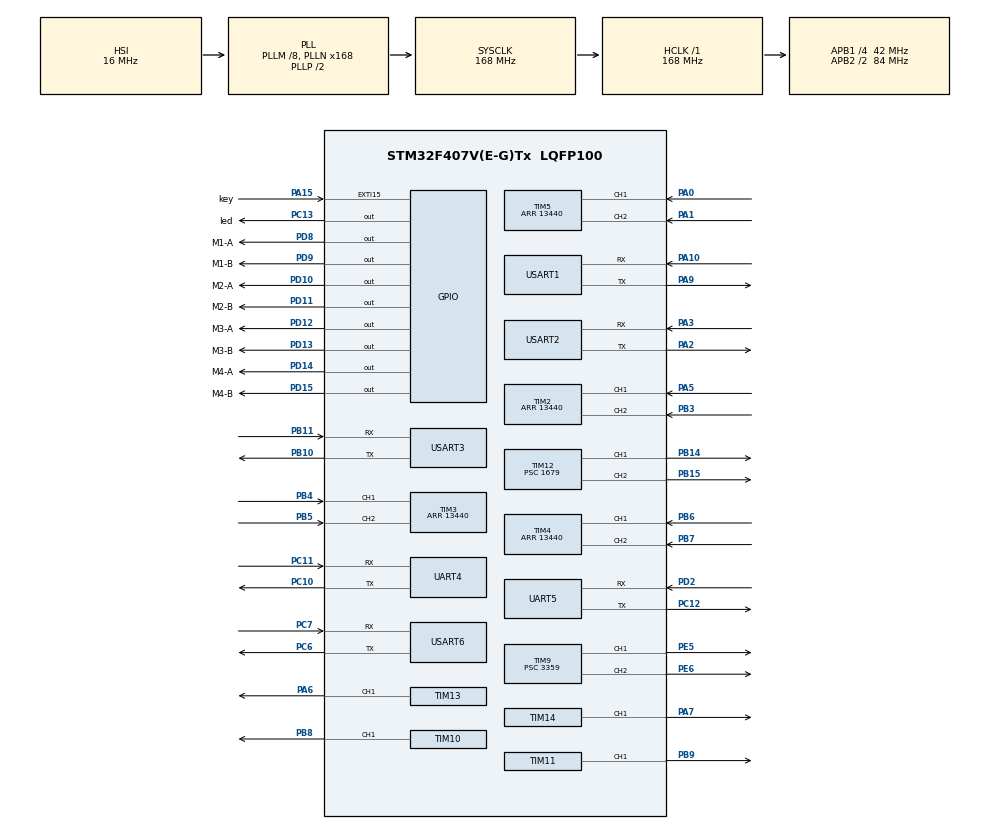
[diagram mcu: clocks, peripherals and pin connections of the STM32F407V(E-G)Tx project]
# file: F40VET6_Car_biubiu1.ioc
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Dma.Request0=USART2_RX
Dma.Request1=USART3_RX
Dma.USART2_RX.0.Direction=DMA_PERIPH_TO_MEMORY
Dma.USART2_RX.0.FIFOMode=DMA_FIFOMODE_DISABLE
Dma.USART2_RX.0.Instance=DMA1_Stream5
Dma.USART2_RX.0.MemDataAlignment=DMA_MDATAALIGN_BYTE
Dma.USART2_RX.0.MemInc=DMA_MINC_ENABLE
Dma.USART2_RX.0.Mode=DMA_NORMAL
Dma.USART2_RX.0.PeriphDataAlignment=DMA_PDATAALIGN_BYTE
Dma.USART2_RX.0.PeriphInc=DMA_PINC_DISABLE
Dma.USART2_RX.0.Priority=DMA_PRIORITY_HIGH
Dma.USART3_RX.1.Direction=DMA_PERIPH_TO_MEMORY
Dma.USART3_RX.1.FIFOMode=DMA_FIFOMODE_DISABLE
Dma.USART3_RX.1.Instance=DMA1_Stream1
Dma.USART3_RX.1.MemDataAlignment=DMA_MDATAALIGN_BYTE
Dma.USART3_RX.1.MemInc=DMA_MINC_ENABLE
Dma.USART3_RX.1.Mode=DMA_NORMAL
Dma.USART3_RX.1.PeriphDataAlignment=DMA_PDATAALIGN_BYTE
Dma.USART3_RX.1.PeriphInc=DMA_PINC_DISABLE
Dma.USART3_RX.1.Priority=DMA_PRIORITY_HIGH
Mcu.Family=STM32F4
Mcu.Name=STM32F407V(E-G)Tx
Mcu.Package=LQFP100
NVIC.DMA1_Stream1_IRQn=true\:0\:0\:false\:false\:true\:false\:true
NVIC.DMA1_Stream5_IRQn=true\:0\:0\:false\:false\:true\:false\:true
NVIC.EXTI15_10_IRQn=true\:0\:1\:true\:false\:true\:true\:true
NVIC.PriorityGroup=NVIC_PRIORITYGROUP_2
NVIC.TIM2_IRQn=true\:1\:1\:true\:false\:true\:true\:true
NVIC.TIM3_IRQn=true\:1\:2\:true\:false\:true\:true\:true
NVIC.TIM4_IRQn=true\:1\:3\:true\:false\:true\:true\:true
NVIC.TIM5_IRQn=true\:1\:0\:true\:false\:true\:true\:true
NVIC.TIM6_DAC_IRQn=true\:2\:3\:true\:false\:true\:true\:true
NVIC.UART4_IRQn=true\:0\:0\:false\:false\:true\:true\:true
NVIC.UART5_IRQn=true\:0\:0\:false\:false\:true\:true\:true
NVIC.USART1_IRQn=true\:0\:0\:true\:false\:true\:true\:true
NVIC.USART2_IRQn=true\:0\:0\:false\:false\:true\:true\:true
NVIC.USART3_IRQn=true\:0\:0\:false\:false\:true\:true\:true
NVIC.USART6_IRQn=true\:0\:0\:false\:false\:true\:true\:true
PA0-WKUP.Signal=S_TIM5_CH1
PA1.Signal=S_TIM5_CH2
PA10.Mode=Asynchronous
PA10.Signal=USART1_RX
PA13.Mode=Serial_Wire
PA13.Signal=SYS_JTMS-SWDIO
PA14.Mode=Serial_Wire
PA14.Signal=SYS_JTCK-SWCLK
PA15.GPIO_Label=key
PA15.GPIO_ModeDefaultEXTI=GPIO_MODE_IT_FALLING
PA15.GPIO_PuPd=GPIO_PULLUP
PA15.Signal=GPXTI15
PA2.Mode=Asynchronous
PA2.Signal=USART2_TX
PA3.Mode=Asynchronous
PA3.Signal=USART2_RX
PA5.Signal=S_TIM2_CH1_ETR
PA6.Signal=S_TIM13_CH1
PA7.Signal=S_TIM14_CH1
PA9.Mode=Asynchronous
PA9.Signal=USART1_TX
PB10.Mode=Asynchronous
PB10.Signal=USART3_TX
PB11.Mode=Asynchronous
PB11.Signal=USART3_RX
PB14.Signal=S_TIM12_CH1
PB15.Signal=S_TIM12_CH2
PB3.Signal=S_TIM2_CH2
PB4.Signal=S_TIM3_CH1
PB5.Signal=S_TIM3_CH2
PB6.Signal=S_TIM4_CH1
PB7.Signal=S_TIM4_CH2
PB8.Signal=S_TIM10_CH1
PB9.Signal=S_TIM11_CH1
PC10.Mode=Asynchronous
PC10.Signal=UART4_TX
PC11.Mode=Asynchronous
PC11.Signal=UART4_RX
PC12.Mode=Asynchronous
PC12.Signal=UART5_TX
PC13-ANTI_TAMP.GPIO_Label=led
PC13-ANTI_TAMP.GPIO_PuPd=GPIO_NOPULL
PC13-ANTI_TAMP.GPIO_Speed=GPIO_SPEED_FREQ_LOW
PC13-ANTI_TAMP.PinState=GPIO_PIN_RESET
PC13-ANTI_TAMP.Signal=GPIO_Output
PC6.Mode=Asynchronous
PC6.Signal=USART6_TX
PC7.Mode=Asynchronous
PC7.Signal=USART6_RX
PD10.GPIO_Label=M2-A 
PD10.Signal=GPIO_Output
PD11.GPIO_Label=M2-B 
PD11.GPIO_Speed=GPIO_SPEED_FREQ_HIGH
PD11.Signal=GPIO_Output
PD12.GPIO_Label=M3-A 
PD12.Signal=GPIO_Output
PD13.GPIO_Label=M3-B 
PD13.Signal=GPIO_Output
PD14.GPIO_Label=M4-A 
PD14.Signal=GPIO_Output
PD15.GPIO_Label=M4-B 
PD15.Signal=GPIO_Output
PD2.Mode=Asynchronous
PD2.Signal=UART5_RX
PD8.GPIO_Label=M1-A 
PD8.GPIO_Speed=GPIO_SPEED_FREQ_MEDIUM
PD8.PinState=GPIO_PIN_RESET
PD8.Signal=GPIO_Output
PD9.GPIO_Label=M1-B 
PD9.GPIO_Speed=GPIO_SPEED_FREQ_HIGH
PD9.Signal=GPIO_Output
PE5.Signal=S_TIM9_CH1
PE6.Signal=S_TIM9_CH2
PH0-OSC_IN.Mode=HSE-External-Oscillator
PH0-OSC_IN.Signal=RCC_OSC_IN
PH1-OSC_OUT.Mode=HSE-External-Oscillator
PH1-OSC_OUT.Signal=RCC_OSC_OUT
ProjectManager.HeapSize=0x200
ProjectManager.StackSize=0x400
ProjectManager.TargetToolchain=MDK-ARM V5.27
RCC.48MHZClocksFreq_Value=84000000
RCC.AHBFreq_Value=168000000
RCC.APB1CLKDivider=RCC_HCLK_DIV4
RCC.APB1Freq_Value=42000000
RCC.APB1TimFreq_Value=84000000
RCC.APB2CLKDivider=RCC_HCLK_DIV2
RCC.APB2Freq_Value=84000000
RCC.APB2TimFreq_Value=168000000
RCC.CortexFreq_Value=168000000
RCC.HCLKFreq_Value=168000000
RCC.HSE_VALUE=8000000
RCC.HSI_VALUE=16000000
RCC.LSE_VALUE=32768
RCC.PLLM=8
RCC.PLLN=168
RCC.SYSCLKFreq_VALUE=168000000
RCC.SYSCLKSource=RCC_SYSCLKSOURCE_PLLCLK
RCC.VCOOutputFreq_Value=336000000
SH.S_TIM10_CH1.0=TIM10_CH1,PWM Generation1 CH1
SH.S_TIM11_CH1.0=TIM11_CH1,PWM Generation1 CH1
SH.S_TIM12_CH1.0=TIM12_CH1,PWM Generation1 CH1
SH.S_TIM12_CH2.0=TIM12_CH2,PWM Generation2 CH2
SH.S_TIM13_CH1.0=TIM13_CH1,PWM Generation1 CH1
SH.S_TIM14_CH1.0=TIM14_CH1,PWM Generation1 CH1
SH.S_TIM2_CH1_ETR.0=TIM2_CH1,Encoder_Interface
SH.S_TIM2_CH2.0=TIM2_CH2,Encoder_Interface
SH.S_TIM3_CH1.0=TIM3_CH1,Encoder_Interface
SH.S_TIM3_CH2.0=TIM3_CH2,Encoder_Interface
SH.S_TIM4_CH1.0=TIM4_CH1,Encoder_Interface
SH.S_TIM4_CH2.0=TIM4_CH2,Encoder_Interface
SH.S_TIM5_CH1.0=TIM5_CH1,Encoder_Interface
SH.S_TIM5_CH2.0=TIM5_CH2,Encoder_Interface
SH.S_TIM9_CH1.0=TIM9_CH1,PWM Generation1 CH1
SH.S_TIM9_CH2.0=TIM9_CH2,PWM Generation2 CH2
TIM10.AutoReloadPreload=TIM_AUTORELOAD_PRELOAD_DISABLE
TIM10.Channel=TIM_CHANNEL_1
TIM10.Period=999
TIM10.Prescaler=16
TIM10.Pulse=500
TIM11.Channel=TIM_CHANNEL_1
TIM11.Period=999
TIM11.Prescaler=16
TIM12.Channel-PWM\ Generation1\ CH1=TIM_CHANNEL_1
TIM12.Channel-PWM\ Generation2\ CH2=TIM_CHANNEL_2
TIM12.Period=999
TIM12.Prescaler=1679
TIM13.Channel=TIM_CHANNEL_1
TIM13.Period=999
TIM13.Prescaler=8
TIM14.Channel=TIM_CHANNEL_1
TIM14.Period=999
TIM14.Prescaler=8
TIM2.EncoderMode=TIM_ENCODERMODE_TI12
TIM2.Period=13440
TIM3.EncoderMode=TIM_ENCODERMODE_TI12
TIM3.Period=13440
TIM4.EncoderMode=TIM_ENCODERMODE_TI12
TIM4.Period=13440
TIM5.EncoderMode=TIM_ENCODERMODE_TI12
TIM5.Period=13440
TIM6.Period=9999
TIM6.Prescaler=83
TIM9.AutoReloadPreload=TIM_AUTORELOAD_PRELOAD_DISABLE
TIM9.Channel-PWM\ Generation1\ CH1=TIM_CHANNEL_1
TIM9.Channel-PWM\ Generation2\ CH2=TIM_CHANNEL_2
TIM9.Period=999
TIM9.Prescaler=3359
UART4.VirtualMode=Asynchronous
UART5.VirtualMode=Asynchronous
USART1.VirtualMode=VM_ASYNC
USART2.VirtualMode=VM_ASYNC
USART3.VirtualMode=VM_ASYNC
USART6.VirtualMode=VM_ASYNC
VP_TIM10_VS_ClockSourceINT.Mode=Enable_Timer
VP_TIM11_VS_ClockSourceINT.Mode=Enable_Timer
VP_TIM13_VS_ClockSourceINT.Mode=Enable_Timer
VP_TIM14_VS_ClockSourceINT.Mode=Enable_Timer
VP_TIM6_VS_ClockSourceINT.Mode=Enable_Timer
board=custom

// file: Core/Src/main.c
/* USER CODE BEGIN Header */
/**
 ******************************************************************************
 * @file           : main.c
 * @brief          : Main program body
 ******************************************************************************
 * @attention
 *
 * <h2><center>&copy; Copyright (c) 2023 STMicroelectronics.
 * All rights reserved.</center></h2>
 *
 * This software component is licensed by ST under BSD 3-Clause license,
 * the "License"; You may not use this file except in compliance with the
 * License. You may obtain a copy of the License at:
 *                        opensource.org/licenses/BSD-3-Clause
 *
 ******************************************************************************
 */
/* USER CODE END Header */
#include "main.h"

TIM_HandleTypeDef htim2;
TIM_HandleTypeDef htim3;
TIM_HandleTypeDef htim4;
TIM_HandleTypeDef htim5;
TIM_HandleTypeDef htim6;
TIM_HandleTypeDef htim9;
TIM_HandleTypeDef htim10;
TIM_HandleTypeDef htim11;
TIM_HandleTypeDef htim12;
TIM_HandleTypeDef htim13;
TIM_HandleTypeDef htim14;

UART_HandleTypeDef huart4;
UART_HandleTypeDef huart5;
UART_HandleTypeDef huart1;
UART_HandleTypeDef huart2;
UART_HandleTypeDef huart3;
UART_HandleTypeDef huart6;
DMA_HandleTypeDef hdma_usart2_rx;
DMA_HandleTypeDef hdma_usart3_rx;

void SystemClock_Config(void);
static void MX_GPIO_Init(void);
static void MX_DMA_Init(void);
static void MX_TIM2_Init(void);
static void MX_TIM3_Init(void);
static void MX_TIM4_Init(void);
static void MX_TIM5_Init(void);
static void MX_TIM6_Init(void);
static void MX_TIM9_Init(void);
static void MX_TIM10_Init(void);
static void MX_TIM11_Init(void);
static void MX_TIM12_Init(void);
static void MX_TIM13_Init(void);
static void MX_TIM14_Init(void);
static void MX_USART1_UART_Init(void);
static void MX_USART2_UART_Init(void);
static void MX_USART3_UART_Init(void);
static void MX_UART4_Init(void);
static void MX_UART5_Init(void);
static void MX_USART6_UART_Init(void);

/* USER CODE BEGIN 0 */
int fputc(int ch, FILE *f)
{
  uint8_t temp[1] = {ch};
  HAL_UART_Transmit(&huart1 , temp, 1, 0xffff);
  return ch;
}

int fgetc(FILE *f)
{
  uint8_t ch = 0;
  HAL_UART_Receive(&huart1, &ch, 1, 0xffff);
  return ch;
}
/* USER CODE END 0 */

int main(void)
{

  /* MCU Configuration--------------------------------------------------------*/

  /* Reset of all peripherals, Initializes the Flash interface and the Systick. */
  HAL_Init();

  /* Configure the system clock */
  SystemClock_Config();

  /* Initialize all configured peripherals */
  MX_GPIO_Init();
  MX_DMA_Init();
  MX_TIM2_Init();
  MX_TIM3_Init();
  MX_TIM4_Init();
  MX_TIM5_Init();
  MX_TIM6_Init();
  MX_TIM9_Init();
  MX_TIM10_Init();
  MX_TIM11_Init();
  MX_TIM12_Init();
  MX_TIM13_Init();
  MX_TIM14_Init();
  MX_USART1_UART_Init();
  MX_USART2_UART_Init();
  MX_USART3_UART_Init();
  MX_UART4_Init();
  MX_UART5_Init();
  MX_USART6_UART_Init();
  /* USER CODE BEGIN 2 */
  HAL_TIM_Encoder_Start(&htim2, TIM_CHANNEL_ALL); // 编码器模式启�?
  __HAL_TIM_ENABLE_IT(&htim2, TIM_IT_UPDATE);
  HAL_TIM_Base_Start_IT(&htim6);            // 基础定时器启�?
  HAL_TIM_PWM_Start(&htim12, TIM_CHANNEL_1); // PWM输出启动
  HAL_TIM_PWM_Start(&htim9, TIM_CHANNEL_2);
  __HAL_TIM_SET_COUNTER(&htim2, 6720);
  TIM12->CCR1=250;
  /* USER CODE END 2 */

  /* Infinite loop */
  while (1)
  {

    /* USER CODE BEGIN 3 */
     GPIOC->ODR^=GPIO_PIN_13;
     GPIOD->ODR^=GPIO_PIN_8;
     delay(1000);
  }
  /* USER CODE END 3 */
}

void SystemClock_Config(void)
{
  RCC_OscInitTypeDef RCC_OscInitStruct = {0};
  RCC_ClkInitTypeDef RCC_ClkInitStruct = {0};

  /** Configure the main internal regulator output voltage
  */
  __HAL_RCC_PWR_CLK_ENABLE();
  __HAL_PWR_VOLTAGESCALING_CONFIG(PWR_REGULATOR_VOLTAGE_SCALE1);
  /** Initializes the RCC Oscillators according to the specified parameters
  * in the RCC_OscInitTypeDef structure.
  */
  RCC_OscInitStruct.OscillatorType = RCC_OSCILLATORTYPE_HSI;
  RCC_OscInitStruct.HSIState = RCC_HSI_ON;
  RCC_OscInitStruct.HSICalibrationValue = RCC_HSICALIBRATION_DEFAULT;
  RCC_OscInitStruct.PLL.PLLState = RCC_PLL_ON;
  RCC_OscInitStruct.PLL.PLLSource = RCC_PLLSOURCE_HSI;
  RCC_OscInitStruct.PLL.PLLM = 8;
  RCC_OscInitStruct.PLL.PLLN = 168;
  RCC_OscInitStruct.PLL.PLLP = RCC_PLLP_DIV2;
  RCC_OscInitStruct.PLL.PLLQ = 4;
  if (HAL_RCC_OscConfig(&RCC_OscInitStruct) != HAL_OK)
  {
    Error_Handler();
  }
  /** Initializes the CPU, AHB and APB buses clocks
  */
  RCC_ClkInitStruct.ClockType = RCC_CLOCKTYPE_HCLK|RCC_CLOCKTYPE_SYSCLK
                              |RCC_CLOCKTYPE_PCLK1|RCC_CLOCKTYPE_PCLK2;
  RCC_ClkInitStruct.SYSCLKSource = RCC_SYSCLKSOURCE_PLLCLK;
  RCC_ClkInitStruct.AHBCLKDivider = RCC_SYSCLK_DIV1;
  RCC_ClkInitStruct.APB1CLKDivider = RCC_HCLK_DIV4;
  RCC_ClkInitStruct.APB2CLKDivider = RCC_HCLK_DIV2;

  if (HAL_RCC_ClockConfig(&RCC_ClkInitStruct, FLASH_LATENCY_5) != HAL_OK)
  {
    Error_Handler();
  }
}

static void MX_TIM2_Init(void)
{

  TIM_Encoder_InitTypeDef sConfig = {0};
  TIM_MasterConfigTypeDef sMasterConfig = {0};

  htim2.Instance = TIM2;
  htim2.Init.Prescaler = 0;
  htim2.Init.CounterMode = TIM_COUNTERMODE_UP;
  htim2.Init.Period = 13440;
  htim2.Init.ClockDivision = TIM_CLOCKDIVISION_DIV1;
  htim2.Init.AutoReloadPreload = TIM_AUTORELOAD_PRELOAD_DISABLE;
  sConfig.EncoderMode = TIM_ENCODERMODE_TI12;
  sConfig.IC1Polarity = TIM_ICPOLARITY_RISING;
  sConfig.IC1Selection = TIM_ICSELECTION_DIRECTTI;
  sConfig.IC1Prescaler = TIM_ICPSC_DIV1;
  sConfig.IC1Filter = 0;
  sConfig.IC2Polarity = TIM_ICPOLARITY_RISING;
  sConfig.IC2Selection = TIM_ICSELECTION_DIRECTTI;
  sConfig.IC2Prescaler = TIM_ICPSC_DIV1;
  sConfig.IC2Filter = 0;
  if (HAL_TIM_Encoder_Init(&htim2, &sConfig) != HAL_OK)
  {
    Error_Handler();
  }
  sMasterConfig.MasterOutputTrigger = TIM_TRGO_RESET;
  sMasterConfig.MasterSlaveMode = TIM_MASTERSLAVEMODE_DISABLE;
  if (HAL_TIMEx_MasterConfigSynchronization(&htim2, &sMasterConfig) != HAL_OK)
  {
    Error_Handler();
  }

}

static void MX_TIM3_Init(void)
{

  TIM_Encoder_InitTypeDef sConfig = {0};
  TIM_MasterConfigTypeDef sMasterConfig = {0};

  htim3.Instance = TIM3;
  htim3.Init.Prescaler = 0;
  htim3.Init.CounterMode = TIM_COUNTERMODE_UP;
  htim3.Init.Period = 13440;
  htim3.Init.ClockDivision = TIM_CLOCKDIVISION_DIV1;
  htim3.Init.AutoReloadPreload = TIM_AUTORELOAD_PRELOAD_DISABLE;
  sConfig.EncoderMode = TIM_ENCODERMODE_TI12;
  sConfig.IC1Polarity = TIM_ICPOLARITY_RISING;
  sConfig.IC1Selection = TIM_ICSELECTION_DIRECTTI;
  sConfig.IC1Prescaler = TIM_ICPSC_DIV1;
  sConfig.IC1Filter = 0;
  sConfig.IC2Polarity = TIM_ICPOLARITY_RISING;
  sConfig.IC2Selection = TIM_ICSELECTION_DIRECTTI;
  sConfig.IC2Prescaler = TIM_ICPSC_DIV1;
  sConfig.IC2Filter = 0;
  if (HAL_TIM_Encoder_Init(&htim3, &sConfig) != HAL_OK)
  {
    Error_Handler();
  }
  sMasterConfig.MasterOutputTrigger = TIM_TRGO_RESET;
  sMasterConfig.MasterSlaveMode = TIM_MASTERSLAVEMODE_DISABLE;
  if (HAL_TIMEx_MasterConfigSynchronization(&htim3, &sMasterConfig) != HAL_OK)
  {
    Error_Handler();
  }

}

static void MX_TIM4_Init(void)
{

  TIM_Encoder_InitTypeDef sConfig = {0};
  TIM_MasterConfigTypeDef sMasterConfig = {0};

  htim4.Instance = TIM4;
  htim4.Init.Prescaler = 0;
  htim4.Init.CounterMode = TIM_COUNTERMODE_UP;
  htim4.Init.Period = 13440;
  htim4.Init.ClockDivision = TIM_CLOCKDIVISION_DIV1;
  htim4.Init.AutoReloadPreload = TIM_AUTORELOAD_PRELOAD_DISABLE;
  sConfig.EncoderMode = TIM_ENCODERMODE_TI12;
  sConfig.IC1Polarity = TIM_ICPOLARITY_RISING;
  sConfig.IC1Selection = TIM_ICSELECTION_DIRECTTI;
  sConfig.IC1Prescaler = TIM_ICPSC_DIV1;
  sConfig.IC1Filter = 0;
  sConfig.IC2Polarity = TIM_ICPOLARITY_RISING;
  sConfig.IC2Selection = TIM_ICSELECTION_DIRECTTI;
  sConfig.IC2Prescaler = TIM_ICPSC_DIV1;
  sConfig.IC2Filter = 0;
  if (HAL_TIM_Encoder_Init(&htim4, &sConfig) != HAL_OK)
  {
    Error_Handler();
  }
  sMasterConfig.MasterOutputTrigger = TIM_TRGO_RESET;
  sMasterConfig.MasterSlaveMode = TIM_MASTERSLAVEMODE_DISABLE;
  if (HAL_TIMEx_MasterConfigSynchronization(&htim4, &sMasterConfig) != HAL_OK)
  {
    Error_Handler();
  }

}

static void MX_TIM5_Init(void)
{

  TIM_Encoder_InitTypeDef sConfig = {0};
  TIM_MasterConfigTypeDef sMasterConfig = {0};

  htim5.Instance = TIM5;
  htim5.Init.Prescaler = 0;
  htim5.Init.CounterMode = TIM_COUNTERMODE_UP;
  htim5.Init.Period = 13440;
  htim5.Init.ClockDivision = TIM_CLOCKDIVISION_DIV1;
  htim5.Init.AutoReloadPreload = TIM_AUTORELOAD_PRELOAD_DISABLE;
  sConfig.EncoderMode = TIM_ENCODERMODE_TI12;
  sConfig.IC1Polarity = TIM_ICPOLARITY_RISING;
  sConfig.IC1Selection = TIM_ICSELECTION_DIRECTTI;
  sConfig.IC1Prescaler = TIM_ICPSC_DIV1;
  sConfig.IC1Filter = 0;
  sConfig.IC2Polarity = TIM_ICPOLARITY_RISING;
  sConfig.IC2Selection = TIM_ICSELECTION_DIRECTTI;
  sConfig.IC2Prescaler = TIM_ICPSC_DIV1;
  sConfig.IC2Filter = 0;
  if (HAL_TIM_Encoder_Init(&htim5, &sConfig) != HAL_OK)
  {
    Error_Handler();
  }
  sMasterConfig.MasterOutputTrigger = TIM_TRGO_RESET;
  sMasterConfig.MasterSlaveMode = TIM_MASTERSLAVEMODE_DISABLE;
  if (HAL_TIMEx_MasterConfigSynchronization(&htim5, &sMasterConfig) != HAL_OK)
  {
    Error_Handler();
  }

}

static void MX_TIM6_Init(void)
{

  TIM_MasterConfigTypeDef sMasterConfig = {0};

  htim6.Instance = TIM6;
  htim6.Init.Prescaler = 83;
  htim6.Init.CounterMode = TIM_COUNTERMODE_UP;
  htim6.Init.Period = 9999;
  htim6.Init.AutoReloadPreload = TIM_AUTORELOAD_PRELOAD_DISABLE;
  if (HAL_TIM_Base_Init(&htim6) != HAL_OK)
  {
    Error_Handler();
  }
  sMasterConfig.MasterOutputTrigger = TIM_TRGO_RESET;
  sMasterConfig.MasterSlaveMode = TIM_MASTERSLAVEMODE_DISABLE;
  if (HAL_TIMEx_MasterConfigSynchronization(&htim6, &sMasterConfig) != HAL_OK)
  {
    Error_Handler();
  }

}

static void MX_TIM9_Init(void)
{

  TIM_OC_InitTypeDef sConfigOC = {0};

  htim9.Instance = TIM9;
  htim9.Init.Prescaler = 3359;
  htim9.Init.CounterMode = TIM_COUNTERMODE_UP;
  htim9.Init.Period = 999;
  htim9.Init.ClockDivision = TIM_CLOCKDIVISION_DIV1;
  htim9.Init.AutoReloadPreload = TIM_AUTORELOAD_PRELOAD_DISABLE;
  if (HAL_TIM_PWM_Init(&htim9) != HAL_OK)
  {
    Error_Handler();
  }
  sConfigOC.OCMode = TIM_OCMODE_PWM1;
  sConfigOC.Pulse = 0;
  sConfigOC.OCPolarity = TIM_OCPOLARITY_HIGH;
  sConfigOC.OCFastMode = TIM_OCFAST_DISABLE;
  if (HAL_TIM_PWM_ConfigChannel(&htim9, &sConfigOC, TIM_CHANNEL_1) != HAL_OK)
  {
    Error_Handler();
  }
  if (HAL_TIM_PWM_ConfigChannel(&htim9, &sConfigOC, TIM_CHANNEL_2) != HAL_OK)
  {
    Error_Handler();
  }
  HAL_TIM_MspPostInit(&htim9);

}

static void MX_TIM10_Init(void)
{

  TIM_OC_InitTypeDef sConfigOC = {0};

  htim10.Instance = TIM10;
  htim10.Init.Prescaler = 16;
  htim10.Init.CounterMode = TIM_COUNTERMODE_UP;
  htim10.Init.Period = 999;
  htim10.Init.ClockDivision = TIM_CLOCKDIVISION_DIV1;
  htim10.Init.AutoReloadPreload = TIM_AUTORELOAD_PRELOAD_DISABLE;
  if (HAL_TIM_Base_Init(&htim10) != HAL_OK)
  {
    Error_Handler();
  }
  if (HAL_TIM_PWM_Init(&htim10) != HAL_OK)
  {
    Error_Handler();
  }
  sConfigOC.OCMode = TIM_OCMODE_PWM1;
  sConfigOC.Pulse = 500;
  sConfigOC.OCPolarity = TIM_OCPOLARITY_HIGH;
  sConfigOC.OCFastMode = TIM_OCFAST_DISABLE;
  if (HAL_TIM_PWM_ConfigChannel(&htim10, &sConfigOC, TIM_CHANNEL_1) != HAL_OK)
  {
    Error_Handler();
  }
  HAL_TIM_MspPostInit(&htim10);

}

static void MX_TIM11_Init(void)
{

  TIM_OC_InitTypeDef sConfigOC = {0};

  htim11.Instance = TIM11;
  htim11.Init.Prescaler = 16;
  htim11.Init.CounterMode = TIM_COUNTERMODE_UP;
  htim11.Init.Period = 999;
  htim11.Init.ClockDivision = TIM_CLOCKDIVISION_DIV1;
  htim11.Init.AutoReloadPreload = TIM_AUTORELOAD_PRELOAD_DISABLE;
  if (HAL_TIM_Base_Init(&htim11) != HAL_OK)
  {
    Error_Handler();
  }
  if (HAL_TIM_PWM_Init(&htim11) != HAL_OK)
  {
    Error_Handler();
  }
  sConfigOC.OCMode = TIM_OCMODE_PWM1;
  sConfigOC.Pulse = 0;
  sConfigOC.OCPolarity = TIM_OCPOLARITY_HIGH;
  sConfigOC.OCFastMode = TIM_OCFAST_DISABLE;
  if (HAL_TIM_PWM_ConfigChannel(&htim11, &sConfigOC, TIM_CHANNEL_1) != HAL_OK)
  {
    Error_Handler();
  }
  HAL_TIM_MspPostInit(&htim11);

}

static void MX_TIM12_Init(void)
{

  TIM_OC_InitTypeDef sConfigOC = {0};

  htim12.Instance = TIM12;
  htim12.Init.Prescaler = 1679;
  htim12.Init.CounterMode = TIM_COUNTERMODE_UP;
  htim12.Init.Period = 999;
  htim12.Init.ClockDivision = TIM_CLOCKDIVISION_DIV1;
  htim12.Init.AutoReloadPreload = TIM_AUTORELOAD_PRELOAD_DISABLE;
  if (HAL_TIM_PWM_Init(&htim12) != HAL_OK)
  {
    Error_Handler();
  }
  sConfigOC.OCMode = TIM_OCMODE_PWM1;
  sConfigOC.Pulse = 0;
  sConfigOC.OCPolarity = TIM_OCPOLARITY_HIGH;
  sConfigOC.OCFastMode = TIM_OCFAST_DISABLE;
  if (HAL_TIM_PWM_ConfigChannel(&htim12, &sConfigOC, TIM_CHANNEL_1) != HAL_OK)
  {
    Error_Handler();
  }
  if (HAL_TIM_PWM_ConfigChannel(&htim12, &sConfigOC, TIM_CHANNEL_2) != HAL_OK)
  {
    Error_Handler();
  }
  HAL_TIM_MspPostInit(&htim12);

}

static void MX_TIM13_Init(void)
{

  TIM_OC_InitTypeDef sConfigOC = {0};

  htim13.Instance = TIM13;
  htim13.Init.Prescaler = 8;
  htim13.Init.CounterMode = TIM_COUNTERMODE_UP;
  htim13.Init.Period = 999;
  htim13.Init.ClockDivision = TIM_CLOCKDIVISION_DIV1;
  htim13.Init.AutoReloadPreload = TIM_AUTORELOAD_PRELOAD_DISABLE;
  if (HAL_TIM_Base_Init(&htim13) != HAL_OK)
  {
    Error_Handler();
  }
  if (HAL_TIM_PWM_Init(&htim13) != HAL_OK)
  {
    Error_Handler();
  }
  sConfigOC.OCMode = TIM_OCMODE_PWM1;
  sConfigOC.Pulse = 0;
  sConfigOC.OCPolarity = TIM_OCPOLARITY_HIGH;
  sConfigOC.OCFastMode = TIM_OCFAST_DISABLE;
  if (HAL_TIM_PWM_ConfigChannel(&htim13, &sConfigOC, TIM_CHANNEL_1) != HAL_OK)
  {
    Error_Handler();
  }
  HAL_TIM_MspPostInit(&htim13);

}

static void MX_TIM14_Init(void)
{

  TIM_OC_InitTypeDef sConfigOC = {0};

  htim14.Instance = TIM14;
  htim14.Init.Prescaler = 8;
  htim14.Init.CounterMode = TIM_COUNTERMODE_UP;
  htim14.Init.Period = 999;
  htim14.Init.ClockDivision = TIM_CLOCKDIVISION_DIV1;
  htim14.Init.AutoReloadPreload = TIM_AUTORELOAD_PRELOAD_DISABLE;
  if (HAL_TIM_Base_Init(&htim14) != HAL_OK)
  {
    Error_Handler();
  }
  if (HAL_TIM_PWM_Init(&htim14) != HAL_OK)
  {
    Error_Handler();
  }
  sConfigOC.OCMode = TIM_OCMODE_PWM1;
  sConfigOC.Pulse = 0;
  sConfigOC.OCPolarity = TIM_OCPOLARITY_HIGH;
  sConfigOC.OCFastMode = TIM_OCFAST_DISABLE;
  if (HAL_TIM_PWM_ConfigChannel(&htim14, &sConfigOC, TIM_CHANNEL_1) != HAL_OK)
  {
    Error_Handler();
  }
  HAL_TIM_MspPostInit(&htim14);

}

static void MX_UART4_Init(void)
{

  huart4.Instance = UART4;
  huart4.Init.BaudRate = 115200;
  huart4.Init.WordLength = UART_WORDLENGTH_8B;
  huart4.Init.StopBits = UART_STOPBITS_1;
  huart4.Init.Parity = UART_PARITY_NONE;
  huart4.Init.Mode = UART_MODE_TX_RX;
  huart4.Init.HwFlowCtl = UART_HWCONTROL_NONE;
  huart4.Init.OverSampling = UART_OVERSAMPLING_16;
  if (HAL_UART_Init(&huart4) != HAL_OK)
  {
    Error_Handler();
  }

}

static void MX_UART5_Init(void)
{

  huart5.Instance = UART5;
  huart5.Init.BaudRate = 115200;
  huart5.Init.WordLength = UART_WORDLENGTH_8B;
  huart5.Init.StopBits = UART_STOPBITS_1;
  huart5.Init.Parity = UART_PARITY_NONE;
  huart5.Init.Mode = UART_MODE_TX_RX;
  huart5.Init.HwFlowCtl = UART_HWCONTROL_NONE;
  huart5.Init.OverSampling = UART_OVERSAMPLING_16;
  if (HAL_UART_Init(&huart5) != HAL_OK)
  {
    Error_Handler();
  }

}

static void MX_USART1_UART_Init(void)
{

  huart1.Instance = USART1;
  huart1.Init.BaudRate = 115200;
  huart1.Init.WordLength = UART_WORDLENGTH_8B;
  huart1.Init.StopBits = UART_STOPBITS_1;
  huart1.Init.Parity = UART_PARITY_NONE;
  huart1.Init.Mode = UART_MODE_TX_RX;
  huart1.Init.HwFlowCtl = UART_HWCONTROL_NONE;
  huart1.Init.OverSampling = UART_OVERSAMPLING_16;
  if (HAL_UART_Init(&huart1) != HAL_OK)
  {
    Error_Handler();
  }

}

static void MX_USART2_UART_Init(void)
{

  huart2.Instance = USART2;
  huart2.Init.BaudRate = 115200;
  huart2.Init.WordLength = UART_WORDLENGTH_8B;
  huart2.Init.StopBits = UART_STOPBITS_1;
  huart2.Init.Parity = UART_PARITY_NONE;
  huart2.Init.Mode = UART_MODE_TX_RX;
  huart2.Init.HwFlowCtl = UART_HWCONTROL_NONE;
  huart2.Init.OverSampling = UART_OVERSAMPLING_16;
  if (HAL_UART_Init(&huart2) != HAL_OK)
  {
    Error_Handler();
  }

}

static void MX_USART3_UART_Init(void)
{

  huart3.Instance = USART3;
  huart3.Init.BaudRate = 115200;
  huart3.Init.WordLength = UART_WORDLENGTH_8B;
  huart3.Init.StopBits = UART_STOPBITS_1;
  huart3.Init.Parity = UART_PARITY_NONE;
  huart3.Init.Mode = UART_MODE_TX_RX;
  huart3.Init.HwFlowCtl = UART_HWCONTROL_NONE;
  huart3.Init.OverSampling = UART_OVERSAMPLING_16;
  if (HAL_UART_Init(&huart3) != HAL_OK)
  {
    Error_Handler();
  }

}

static void MX_USART6_UART_Init(void)
{

  huart6.Instance = USART6;
  huart6.Init.BaudRate = 115200;
  huart6.Init.WordLength = UART_WORDLENGTH_8B;
  huart6.Init.StopBits = UART_STOPBITS_1;
  huart6.Init.Parity = UART_PARITY_NONE;
  huart6.Init.Mode = UART_MODE_TX_RX;
  huart6.Init.HwFlowCtl = UART_HWCONTROL_NONE;
  huart6.Init.OverSampling = UART_OVERSAMPLING_16;
  if (HAL_UART_Init(&huart6) != HAL_OK)
  {
    Error_Handler();
  }

}

static void MX_DMA_Init(void)
{

  /* DMA controller clock enable */
  __HAL_RCC_DMA1_CLK_ENABLE();

  /* DMA interrupt init */
  /* DMA1_Stream1_IRQn interrupt configuration */
  HAL_NVIC_SetPriority(DMA1_Stream1_IRQn, 0, 0);
  HAL_NVIC_EnableIRQ(DMA1_Stream1_IRQn);
  /* DMA1_Stream5_IRQn interrupt configuration */
  HAL_NVIC_SetPriority(DMA1_Stream5_IRQn, 0, 0);
  HAL_NVIC_EnableIRQ(DMA1_Stream5_IRQn);

}

static void MX_GPIO_Init(void)
{
  GPIO_InitTypeDef GPIO_InitStruct = {0};

  /* GPIO Ports Clock Enable */
  __HAL_RCC_GPIOE_CLK_ENABLE();
  __HAL_RCC_GPIOC_CLK_ENABLE();
  __HAL_RCC_GPIOH_CLK_ENABLE();
  __HAL_RCC_GPIOA_CLK_ENABLE();
  __HAL_RCC_GPIOB_CLK_ENABLE();
  __HAL_RCC_GPIOD_CLK_ENABLE();

  /*Configure GPIO pin Output Level */
  HAL_GPIO_WritePin(led_GPIO_Port, led_Pin, GPIO_PIN_RESET);

  /*Configure GPIO pin Output Level */
  HAL_GPIO_WritePin(GPIOD, M1_A_Pin|M1_B_Pin|M2_A_Pin|M2_B_Pin
                          |M3_A_Pin|M3_B_Pin|M4_A_Pin|M4_B_Pin, GPIO_PIN_RESET);

  /*Configure GPIO pin : led_Pin */
  GPIO_InitStruct.Pin = led_Pin;
  GPIO_InitStruct.Mode = GPIO_MODE_OUTPUT_PP;
  GPIO_InitStruct.Pull = GPIO_NOPULL;
  GPIO_InitStruct.Speed = GPIO_SPEED_FREQ_LOW;
  HAL_GPIO_Init(led_GPIO_Port, &GPIO_InitStruct);

  /*Configure GPIO pin : M1_A_Pin */
  GPIO_InitStruct.Pin = M1_A_Pin;
  GPIO_InitStruct.Mode = GPIO_MODE_OUTPUT_PP;
  GPIO_InitStruct.Pull = GPIO_NOPULL;
  GPIO_InitStruct.Speed = GPIO_SPEED_FREQ_MEDIUM;
  HAL_GPIO_Init(M1_A_GPIO_Port, &GPIO_InitStruct);

  /*Configure GPIO pins : M1_B_Pin M2_B_Pin */
  GPIO_InitStruct.Pin = M1_B_Pin|M2_B_Pin;
  GPIO_InitStruct.Mode = GPIO_MODE_OUTPUT_PP;
  GPIO_InitStruct.Pull = GPIO_NOPULL;
  GPIO_InitStruct.Speed = GPIO_SPEED_FREQ_HIGH;
  HAL_GPIO_Init(GPIOD, &GPIO_InitStruct);

  /*Configure GPIO pins : M2_A_Pin M3_A_Pin M3_B_Pin M4_A_Pin
                           M4_B_Pin */
  GPIO_InitStruct.Pin = M2_A_Pin|M3_A_Pin|M3_B_Pin|M4_A_Pin
                          |M4_B_Pin;
  GPIO_InitStruct.Mode = GPIO_MODE_OUTPUT_PP;
  GPIO_InitStruct.Pull = GPIO_NOPULL;
  GPIO_InitStruct.Speed = GPIO_SPEED_FREQ_LOW;
  HAL_GPIO_Init(GPIOD, &GPIO_InitStruct);

  /*Configure GPIO pin : key_Pin */
  GPIO_InitStruct.Pin = key_Pin;
  GPIO_InitStruct.Mode = GPIO_MODE_IT_FALLING;
  GPIO_InitStruct.Pull = GPIO_PULLUP;
  HAL_GPIO_Init(key_GPIO_Port, &GPIO_InitStruct);

  /* EXTI interrupt init*/
  HAL_NVIC_SetPriority(EXTI15_10_IRQn, 0, 1);
  HAL_NVIC_EnableIRQ(EXTI15_10_IRQn);

}

void Error_Handler(void)
{
  __disable_irq();
  while (1)
  {
  }
}

/************************ (C) COPYRIGHT STMicroelectronics *****END OF FILE****/
